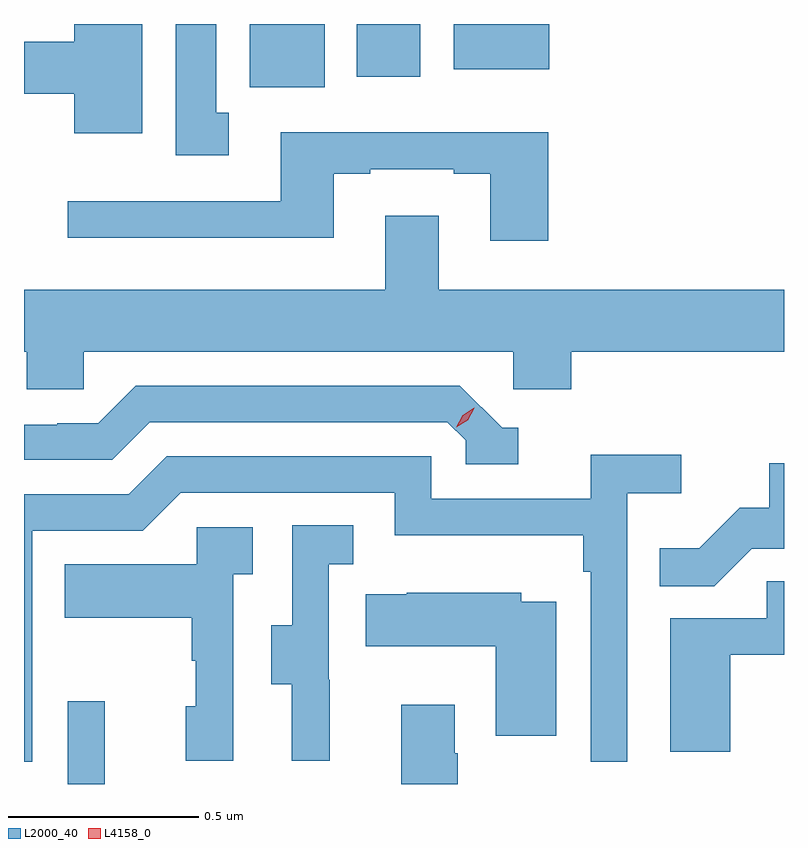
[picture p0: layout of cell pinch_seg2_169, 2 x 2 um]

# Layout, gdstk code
import gdstk
lib = gdstk.Library(unit=1e-6, precision=1e-09)
def R(c, l, rs):  # rectangles x0, y0, x1, y1
    for r in rs: c.add(gdstk.rectangle(r[:2], r[2:], *l))
def P(c, l, *ps):  # polygons
    for p in ps: c.add(gdstk.Polygon(p, *l))
L2000_40 = (2000, 40)
L4158_0 = (4158, 0)

pinch_seg2_169 = lib.new_cell('pinch_seg2_169')
R(pinch_seg2_169, L2000_40, [(1121.481,627.851,1121.579,628.069), (1121.96,629.684,1122.157,629.851), (1122.242,629.712,1122.409,629.851), (1122.497,629.732,1122.748,629.851)])
P(pinch_seg2_169, L2000_40, [(1121.905,629.618),(1121.872,629.618),(1121.872,629.851),(1121.765,629.851),(1121.765,629.505),(1121.905,629.505)],
  [(1121.677,629.851),(1121.498,629.851),(1121.498,629.804),(1121.366,629.804),(1121.366,629.668),(1121.498,629.668),(1121.498,629.564),(1121.677,629.564)],
  [(1122.746,629.566),(1122.041,629.566),(1122.041,629.385),(1121.481,629.385),(1121.481,629.288),(1122.181,629.288),(1122.181,629.457),(1122.277,629.457),(1122.277,629.469),(1122.497,629.469),(1122.497,629.457),(1122.593,629.457),(1122.593,629.28),(1122.746,629.28)],
  [(1121.523,628.988),(1122.654,628.988),(1122.654,628.89),(1122.806,628.89),(1122.806,628.988),(1123.366,628.988),(1123.366,629.152),(1122.457,629.152),(1122.457,629.347),(1122.317,629.347),(1122.317,629.152),(1121.366,629.152),(1121.366,628.988),(1121.373,628.988),(1121.373,628.89),(1121.523,628.89)],
  [(1122.667,628.788),(1122.624,628.788),(1122.513,628.899),(1121.66,628.899),(1121.561,628.8),(1121.454,628.8),(1121.454,628.797),(1121.366,628.797),(1121.366,628.704),(1121.598,628.704),(1121.697,628.803),(1122.48,628.803),(1122.528,628.755),(1122.528,628.692),(1122.667,628.692)],
  [(1121.388,628.518),(1121.679,628.518),(1121.778,628.617),(1122.342,628.617),(1122.342,628.505),(1122.838,628.505),(1122.838,628.409),(1122.858,628.409),(1122.858,627.909),(1122.954,627.909),(1122.954,628.616),(1123.096,628.616),(1123.096,628.718),(1122.857,628.718),(1122.857,628.602),(1122.438,628.602),(1122.438,628.713),(1121.741,628.713),(1121.642,628.614),(1121.366,628.614),(1121.366,627.909),(1121.388,627.909)],
  [(1123.281,628.47),(1123.366,628.47),(1123.366,628.695),(1123.327,628.695),(1123.327,628.578),(1123.25,628.578),(1123.143,628.471),(1123.039,628.471),(1123.039,628.372),(1123.183,628.372)],
  [(1122.17,628.125),(1122.168,628.125),(1122.168,628.429),(1122.232,628.429),(1122.232,628.532),(1122.072,628.532),(1122.072,628.269),(1122.017,628.269),(1122.017,628.114),(1122.071,628.114),(1122.071,627.912),(1122.17,627.912)],
  [(1121.916,628.403),(1121.968,628.403),(1121.968,628.527),(1121.82,628.527),(1121.82,628.429),(1121.473,628.429),(1121.473,628.289),(1121.808,628.289),(1121.808,628.175),(1121.818,628.175),(1121.818,628.056),(1121.792,628.056),(1121.792,627.912),(1121.916,627.912)],
  [(1123.225,628.191),(1123.366,628.191),(1123.366,628.385),(1123.321,628.385),(1123.321,628.287),(1123.067,628.287),(1123.067,627.936),(1123.225,627.936)],
  [(1122.766,628.33),(1122.675,628.33),(1122.675,628.354),(1122.373,628.354),(1122.373,628.351),(1122.265,628.351),(1122.265,628.214),(1122.608,628.214),(1122.608,627.978),(1122.766,627.978)],
  [(1122.507,627.932),(1122.499,627.932),(1122.499,628.06),(1122.359,628.06),(1122.359,627.851),(1122.507,627.851)])
P(pinch_seg2_169, L4158_0, [(1122.503,628.79),(1122.503,628.79),(1122.52,628.822),(1122.551,628.841),(1122.551,628.841),(1122.551,628.84),(1122.534,628.808),(1122.504,628.79)])

lib.write_gds('pinch_seg2_169.gds')
